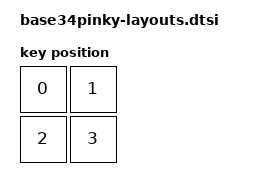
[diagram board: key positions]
/* 
  WIP: Adding support for https://keymap-drawer.streamlit.app
  Example layout file using:
  https://zmk.dev/docs/development/hardware-integration/physical-layouts#physical-layout-with-keys-example
*/
#include <physical_layouts.dtsi>

/ {
    macropad_physical_layout: macropad_physical_layout {
        compatible = "zmk,physical-layout";
        display-name = "Macro Pad";
        transform = <&default_transform>;
        kscan = <&kscan0>;
        keys  //                     w   h    x    y     rot    rx    ry
            = <&key_physical_attrs 100 100    0    0       0     0     0>
            , <&key_physical_attrs 100 100  100    0       0     0     0>
            , <&key_physical_attrs 100 100    0  100       0     0     0>
            , <&key_physical_attrs 100 100  100  100       0     0     0>
            ;
    };
};
